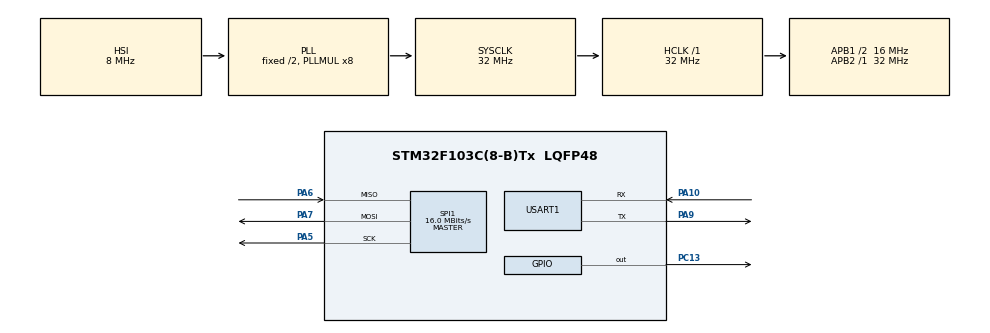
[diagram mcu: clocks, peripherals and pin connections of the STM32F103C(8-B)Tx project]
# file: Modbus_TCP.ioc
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Mcu.Family=STM32F1
Mcu.Name=STM32F103C(8-B)Tx
Mcu.Package=LQFP48
NVIC.PriorityGroup=NVIC_PRIORITYGROUP_4
PA10.Mode=Asynchronous
PA10.Signal=USART1_RX
PA5.Mode=Full_Duplex_Master
PA5.Signal=SPI1_SCK
PA6.Mode=Full_Duplex_Master
PA6.Signal=SPI1_MISO
PA7.Mode=Full_Duplex_Master
PA7.Signal=SPI1_MOSI
PA9.Mode=Asynchronous
PA9.Signal=USART1_TX
PC13-TAMPER-RTC.Signal=GPIO_Output
PD0-OSC_IN.Mode=HSE-External-Oscillator
PD0-OSC_IN.Signal=RCC_OSC_IN
PD1-OSC_OUT.Mode=HSE-External-Oscillator
PD1-OSC_OUT.Signal=RCC_OSC_OUT
ProjectManager.HeapSize=0x200
ProjectManager.StackSize=0x400
ProjectManager.TargetToolchain=MDK-ARM V5
RCC.AHBFreq_Value=32000000
RCC.APB1CLKDivider=RCC_HCLK_DIV2
RCC.APB1Freq_Value=16000000
RCC.APB1TimFreq_Value=32000000
RCC.APB2Freq_Value=32000000
RCC.APB2TimFreq_Value=32000000
RCC.HCLKFreq_Value=32000000
RCC.HSEDivPLL=RCC_HSE_PREDIV_DIV2
RCC.PLLMUL=RCC_PLL_MUL8
RCC.SYSCLKFreq_VALUE=32000000
RCC.SYSCLKSource=RCC_SYSCLKSOURCE_PLLCLK
RCC.USBFreq_Value=32000000
SPI1.BaudRatePrescaler=SPI_BAUDRATEPRESCALER_2
SPI1.CalculateBaudRate=16.0 MBits/s
SPI1.Direction=SPI_DIRECTION_2LINES
SPI1.Mode=SPI_MODE_MASTER
SPI1.VirtualType=VM_MASTER
USART1.VirtualMode=VM_ASYNC
VP_SYS_VS_ND.Mode=No_Debug
board=custom

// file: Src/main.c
/* USER CODE BEGIN Header */
/**
  ******************************************************************************
  * @file           : main.c
  * @brief          : Main program body
  ******************************************************************************
  * @attention
  *
  * <h2><center>&copy; Copyright (c) 2021 STMicroelectronics.
  * All rights reserved.</center></h2>
  *
  * This software component is licensed by ST under BSD 3-Clause license,
  * the "License"; You may not use this file except in compliance with the
  * License. You may obtain a copy of the License at:
  *                        opensource.org/licenses/BSD-3-Clause
  *
  ******************************************************************************
  */
/* USER CODE END Header */
#include "main.h"
#include "spi.h"
#include "usart.h"
#include "gpio.h"

/* USER CODE BEGIN Includes */
#include "w5500.h"
#include <string.h>
#include "stdio.h"
/* USER CODE END Includes */

/* USER CODE BEGIN PV */

void System_Initialization(void);	//STM32系统初始化函数(初始化STM32时钟及外设)
void Load_Net_Parameters(void);
void W5500_Initialization(void);
void W5500_Socket_Set(void);
void Process_Socket_Data(SOCKET s);
static uint16_t data=0;
/* USER CODE END PV */

void SystemClock_Config(void);

int main(void)
{

  /* MCU Configuration--------------------------------------------------------*/

  /* Reset of all peripherals, Initializes the Flash interface and the Systick. */
  HAL_Init();

  /* Configure the system clock */
  SystemClock_Config();

  /* Initialize all configured peripherals */
  MX_GPIO_Init();
  MX_SPI1_Init();
  MX_USART1_UART_Init();
  /* USER CODE BEGIN 2 */
	System_Initialization();	//STM32系统初始化函数(初始化STM32时钟及外设)
	Load_Net_Parameters();		//装载网络参数
	W5500_Hardware_Reset();		//硬件复位W5500
	W5500_Initialization();		//W5500初始货配置

  /* USER CODE END 2 */

  /* Infinite loop */
  while (1)
  {
		W5500_Socket_Set();//W5500端口初始化配置

		W5500_Interrupt_Process();//W5500中断处理程序框架

		if((S0_Data & S_RECEIVE) == S_RECEIVE)//如果Socket0接收到数据
		{
			S0_Data&=~S_RECEIVE;
			Process_Socket_Data(0);//W5500接收并发送接收到的数据
		}
//		else //定时发送字符串
//		{
//			if(S0_State == (S_INIT|S_CONN))
//			{
//				S0_Data&=~S_TRANSMITOK;
//				memcpy(Tx_Buffer, "\r\n你好服务器,我是客户1!\r\n", 23);
//				Write_SOCK_Data_Buffer(0, Tx_Buffer, 23);//指定Socket(0~7)发送数据处理,端口0发送23字节数据
//			}
//		}
//		HAL_Delay(500);
		HAL_GPIO_TogglePin(GPIOC,GPIO_PIN_13);
//		data++;
  }
}

void SystemClock_Config(void)
{
  RCC_OscInitTypeDef RCC_OscInitStruct = {0};
  RCC_ClkInitTypeDef RCC_ClkInitStruct = {0};

  /** Initializes the RCC Oscillators according to the specified parameters
  * in the RCC_OscInitTypeDef structure.
  */
  RCC_OscInitStruct.OscillatorType = RCC_OSCILLATORTYPE_HSI;
  RCC_OscInitStruct.HSIState = RCC_HSI_ON;
  RCC_OscInitStruct.HSICalibrationValue = RCC_HSICALIBRATION_DEFAULT;
  RCC_OscInitStruct.PLL.PLLState = RCC_PLL_ON;
  RCC_OscInitStruct.PLL.PLLSource = RCC_PLLSOURCE_HSI_DIV2;
  RCC_OscInitStruct.PLL.PLLMUL = RCC_PLL_MUL8;
  if (HAL_RCC_OscConfig(&RCC_OscInitStruct) != HAL_OK)
  {
    Error_Handler();
  }
  /** Initializes the CPU, AHB and APB buses clocks
  */
  RCC_ClkInitStruct.ClockType = RCC_CLOCKTYPE_HCLK|RCC_CLOCKTYPE_SYSCLK
                              |RCC_CLOCKTYPE_PCLK1|RCC_CLOCKTYPE_PCLK2;
  RCC_ClkInitStruct.SYSCLKSource = RCC_SYSCLKSOURCE_PLLCLK;
  RCC_ClkInitStruct.AHBCLKDivider = RCC_SYSCLK_DIV1;
  RCC_ClkInitStruct.APB1CLKDivider = RCC_HCLK_DIV2;
  RCC_ClkInitStruct.APB2CLKDivider = RCC_HCLK_DIV1;

  if (HAL_RCC_ClockConfig(&RCC_ClkInitStruct, FLASH_LATENCY_1) != HAL_OK)
  {
    Error_Handler();
  }
}

/* USER CODE BEGIN 4 */

/*******************************************************************************
* 函数名  : W5500_Initialization
* 描述    : W5500初始货配置
* 输入    : 无
* 输出    : 无
* 返回值  : 无
* 说明    : 无
*******************************************************************************/
void W5500_Initialization(void)
{
	W5500_Init();		//初始化W5500寄存器函数
	Detect_Gateway();	//检查网关服务器
	Socket_Init(0);		//指定Socket(0~7)初始化,初始化端口0
}

/*******************************************************************************
* 函数名  : Load_Net_Parameters
* 描述    : 装载网络参数
* 输入    : 无
* 输出    : 无
* 返回值  : 无
* 说明    : 网关、掩码、物理地址、本机IP地址、端口号、目的IP地址、目的端口号、端口工作模式
*******************************************************************************/
void Load_Net_Parameters(void)
{
	Gateway_IP[0] = 192;//加载网关参数
	Gateway_IP[1] = 168;
	Gateway_IP[2] = 1;
	Gateway_IP[3] = 1;

	Sub_Mask[0]=255;//加载子网掩码
	Sub_Mask[1]=255;
	Sub_Mask[2]=255;
	Sub_Mask[3]=0;

	Phy_Addr[0]=0x0c;//加载物理地址
	Phy_Addr[1]=0x29;
	Phy_Addr[2]=0xab;
	Phy_Addr[3]=0x7c;
	Phy_Addr[4]=0x00;
	Phy_Addr[5]=0x01;

	IP_Addr[0]=192;//加载本机IP地址
	IP_Addr[1]=168;
	IP_Addr[2]=1;
	IP_Addr[3]=199;

	S0_Port[0] = 0x13;//加载端口0的端口号5000
	S0_Port[1] = 0x88;

//	S0_DIP[0]=192;//加载端口0的目的IP地址
//	S0_DIP[1]=168;
//	S0_DIP[2]=1;
//	S0_DIP[3]=190;
//
//	S0_DPort[0] = 0x17;//加载端口0的目的端口号6000
//	S0_DPort[1] = 0x70;

	S0_Mode=TCP_SERVER;//加载端口0的工作模式,TCP服务端模式
}

/*******************************************************************************
* 函数名  : W5500_Socket_Set
* 描述    : W5500端口初始化配置
* 输入    : 无
* 输出    : 无
* 返回值  : 无
* 说明    : 分别设置4个端口,根据端口工作模式,将端口置于TCP服务器、TCP客户端或UDP模式.
*			从端口状态字节Socket_State可以判断端口的工作情况
*******************************************************************************/
void W5500_Socket_Set(void)
{
	if(S0_State==0)//端口0初始化配置
	{
		if(S0_Mode==TCP_SERVER)//TCP服务器模式
		{
			if(Socket_Listen(0)==TRUE)
				S0_State=S_INIT;
			else
				S0_State=0;
		}
		else if(S0_Mode==TCP_CLIENT)//TCP客户端模式
		{
			if(Socket_Connect(0)==TRUE)
				S0_State=S_INIT;
			else
				S0_State=0;
		}
		else//UDP模式
		{
			if(Socket_UDP(0)==TRUE)
				S0_State=S_INIT|S_CONN;
			else
				S0_State=0;
		}
	}
}

/*******************************************************************************
* 函数名  : Process_Socket_Data
* 描述    : W5500接收并发送接收到的数据
* 输入    : s:端口号
* 输出    : 无
* 返回值  : 无
* 说明    : 本过程先调用S_rx_process()从W5500的端口接收数据缓冲区读取数据,
*			然后将读取的数据从Rx_Buffer拷贝到Temp_Buffer缓冲区进行处理。
*			处理完毕，将数据从Temp_Buffer拷贝到Tx_Buffer缓冲区。调用S_tx_process()
*			发送数据。
*******************************************************************************/
void Process_Socket_Data(SOCKET s)
{
	int len;
	unsigned char msg[11]={0x00,0x00,0x00 ,0x00, 0x00, 0x05, 0x01, 0x03, 0x02, 0x00, 0x70};
	len=sizeof(msg);
	unsigned short size;
	size=Read_SOCK_Data_Buffer(s, Rx_Buffer);
	memcpy(Tx_Buffer, Rx_Buffer, size);

	//打印查询报文
	for (int j=0;j<size;j++){
		 printf("0x%02X ",Tx_Buffer[j]);
	}

	//写响应报文
	//检验码
	msg[0]=Tx_Buffer[0];
	msg[1]=Tx_Buffer[1];

	//协议
	msg[2]=0x00;
	msg[3]=0x00;

	//数据包长度
	msg[4]=0x00;
	msg[5]=0x05;

	//设备编号
	msg[6]=Tx_Buffer[6];
	//功能码
	msg[7]=Tx_Buffer[7];
	//数据长度
	msg[8]=0x02;

	//低八位
	msg[10]=data&0XFF;
	//高八位
	msg[9]=data>>8;

	memcpy(Tx_Buffer, msg, len);
	//发送响应报文
	Write_SOCK_Data_Buffer(0, Tx_Buffer, len);
	data++;
}

/*******************************************************************************
* 函数名  : System_Initialization
* 描述    : STM32系统初始化函数(初始化STM32时钟及外设)
* 输入    : 无
* 输出    : 无
* 返回    : 无
* 说明    : 无
*******************************************************************************/
void System_Initialization(void)
{
	//RCC_Configuration();		//设置系统时钟为72MHZ(这个可以根据需要改)
  	//NVIC_Configuration();		//STM32中断向量表配配置
	SPI_Configuration();		//W5500 SPI初始化配置(STM32 SPI1)
	//Timer2_Init_Config();		//Timer2初始化配置
	W5500_GPIO_Configuration();	//W5500 GPIO初始化配置
}

/* USER CODE END 4 */

void Error_Handler(void)
{
  __disable_irq();
  while (1)
  {
  }
}

/************************ (C) COPYRIGHT STMicroelectronics *****END OF FILE****/
